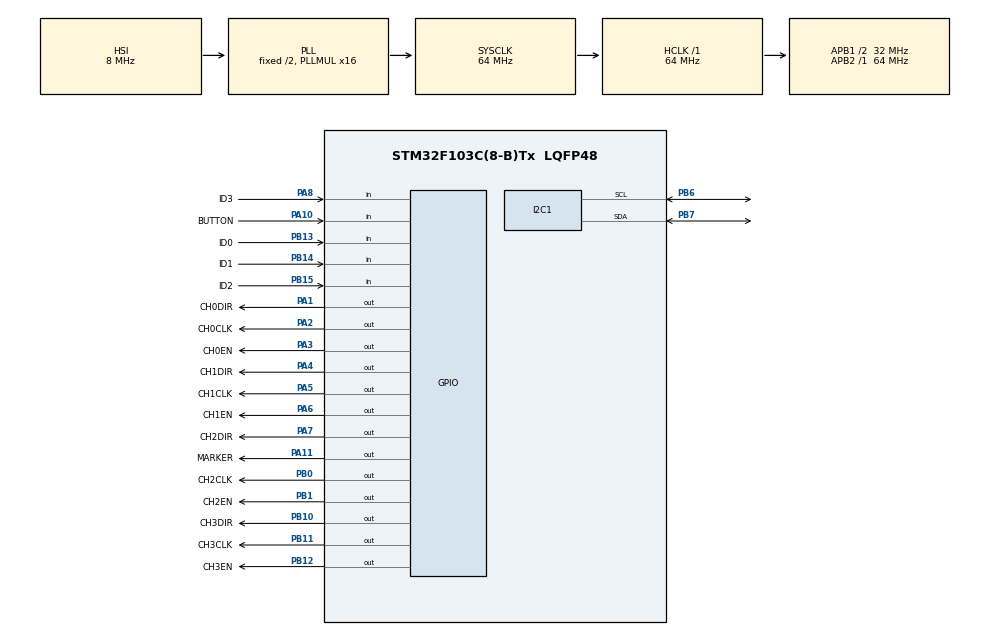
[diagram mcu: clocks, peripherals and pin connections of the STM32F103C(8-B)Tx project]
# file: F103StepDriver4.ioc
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I2C1.OwnAddress=1
Mcu.Family=STM32F1
Mcu.Name=STM32F103C(8-B)Tx
Mcu.Package=LQFP48
NVIC.I2C1_ER_IRQn=true\:0\:0\:false\:false\:true\:true\:true\:true
NVIC.I2C1_EV_IRQn=true\:0\:0\:false\:false\:true\:true\:true\:true
NVIC.PriorityGroup=NVIC_PRIORITYGROUP_4
NVIC.TIM1_UP_IRQn=true\:0\:0\:false\:false\:true\:true\:true\:true
NVIC.TIM2_IRQn=true\:0\:0\:false\:false\:true\:true\:true\:true
NVIC.TIM3_IRQn=true\:0\:0\:false\:false\:true\:true\:true\:true
NVIC.TIM4_IRQn=true\:0\:0\:false\:false\:true\:true\:true\:true
PA1.GPIO_Label=CH0DIR
PA1.Signal=GPIO_Output
PA10.GPIO_Label=BUTTON
PA10.GPIO_PuPd=GPIO_PULLUP
PA10.Signal=GPIO_Input
PA11.GPIO_Label=MARKER
PA11.PinState=GPIO_PIN_RESET
PA11.Signal=GPIO_Output
PA13.Mode=Serial_Wire
PA13.Signal=SYS_JTMS-SWDIO
PA14.Mode=Serial_Wire
PA14.Signal=SYS_JTCK-SWCLK
PA2.GPIO_Label=CH0CLK
PA2.Signal=GPIO_Output
PA3.GPIO_Label=CH0EN
PA3.Signal=GPIO_Output
PA4.GPIO_Label=CH1DIR
PA4.Signal=GPIO_Output
PA5.GPIO_Label=CH1CLK
PA5.Signal=GPIO_Output
PA6.GPIO_Label=CH1EN
PA6.Signal=GPIO_Output
PA7.GPIO_Label=CH2DIR
PA7.Signal=GPIO_Output
PA8.GPIO_Label=ID3
PA8.GPIO_PuPd=GPIO_PULLDOWN
PA8.Signal=GPIO_Input
PB0.GPIO_Label=CH2CLK
PB0.Signal=GPIO_Output
PB1.GPIO_Label=CH2EN
PB1.Signal=GPIO_Output
PB10.GPIO_Label=CH3DIR
PB10.Signal=GPIO_Output
PB11.GPIO_Label=CH3CLK
PB11.Signal=GPIO_Output
PB12.GPIO_Label=CH3EN
PB12.Signal=GPIO_Output
PB13.GPIO_Label=ID0
PB13.GPIO_PuPd=GPIO_PULLDOWN
PB13.Signal=GPIO_Input
PB14.GPIO_Label=ID1
PB14.GPIO_PuPd=GPIO_PULLDOWN
PB14.Signal=GPIO_Input
PB15.GPIO_Label=ID2
PB15.GPIO_PuPd=GPIO_PULLDOWN
PB15.Signal=GPIO_Input
PB6.Mode=I2C
PB6.Signal=I2C1_SCL
PB7.Mode=I2C
PB7.Signal=I2C1_SDA
ProjectManager.HeapSize=0x200
ProjectManager.StackSize=0x400
ProjectManager.TargetToolchain=STM32CubeIDE
RCC.AHBFreq_Value=64000000
RCC.APB1CLKDivider=RCC_HCLK_DIV2
RCC.APB1Freq_Value=32000000
RCC.APB1TimFreq_Value=64000000
RCC.APB2Freq_Value=64000000
RCC.APB2TimFreq_Value=64000000
RCC.HCLKFreq_Value=64000000
RCC.PLLMUL=RCC_PLL_MUL16
RCC.SYSCLKFreq_VALUE=64000000
RCC.SYSCLKSource=RCC_SYSCLKSOURCE_PLLCLK
RCC.USBFreq_Value=64000000
RTC.AsynchPrediv=40
RTC.AutoPrediv=0
RTC.Format=RTC_FORMAT_BIN
TIM1.CounterMode=TIM_COUNTERMODE_DOWN
TIM1.Period=200
TIM1.Prescaler=64
TIM2.CounterMode=TIM_COUNTERMODE_DOWN
TIM2.Period=250
TIM2.Prescaler=64
TIM3.CounterMode=TIM_COUNTERMODE_DOWN
TIM3.Period=333
TIM3.Prescaler=64
TIM4.CounterMode=TIM_COUNTERMODE_DOWN
TIM4.Period=500
TIM4.Prescaler=64
VP_RTC_VS_RTC_Activate.Mode=RTC_Enabled
VP_TIM1_VS_ClockSourceINT.Mode=Internal
VP_TIM1_VS_OPM.Mode=OPM_bit
VP_TIM2_VS_ClockSourceINT.Mode=Internal
VP_TIM2_VS_OPM.Mode=OPM_bit
VP_TIM3_VS_ClockSourceINT.Mode=Internal
VP_TIM3_VS_OPM.Mode=OPM_bit
VP_TIM4_VS_ClockSourceINT.Mode=Internal
board=custom

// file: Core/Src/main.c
/* USER CODE BEGIN Header */
/**
  ******************************************************************************
  * @file           : main.c
  * @brief          : Main program body
  ******************************************************************************
  * @attention
  *
  * Copyright (c) 2025 STMicroelectronics.
  * All rights reserved.
  *
  * This software is licensed under terms that can be found in the LICENSE file
  * in the root directory of this software component.
  * If no LICENSE file comes with this software, it is provided AS-IS.
  *
  ******************************************************************************

  2026-01-04 テーブル方式作成開始
  */

/* USER CODE END Header */
#include "main.h"

/* USER CODE BEGIN Includes */
#include <stdio.h>		// for DEBUG
#include "stdbool.h"
/* USER CODE END Includes */

/* USER CODE BEGIN PD */
#define CHATTER 100

// I2Cコマンド
#define CMDMOVE 0x00
#define CMDRST  0x01

// 制御シンボル
#define UP true
#define DOWN false
#define HIGH 1
#define LOW 0
#define IDOFFSET 0x10

// 制御するドライバ数
#define CHCOUNT 4

// 動作範囲
#define LENGTH 8.2  // アクチュエータのストローク(mm)
#define MAXPT  2600 // 最大パルス数

// 時間定数
#define STBYTIME 1000 // 不動時間がこれ以上あるとスタンバイ(mS)
#define STBYDLY  100  // スタンバイ復帰時の待ち時間(uS)

// 等加速度運動パラメータ
#define INITVEL  5.0 // 初期速度(mm/S)
#define MAXVEL  31.5 // 最大速度(mm/S)
#define ACCEL  20.0 //500.0 // 加速度(mm/S2)
#define MARGIN 5    // 減速余裕(pulse)

#define MAXTBL 1500

// EN復帰待ち時間(x1uS)
#define ENWTIME 1000 // 1mS

// 絶対値マクロ
#define abs(x) (x<0 ? x*-1 : x)

// IIC用
#define IICBUFSIZE 32

#define digitalRead(pp) (HAL_GPIO_ReadPin(pp.port, pp.bit ))

/* USER CODE END PD */

I2C_HandleTypeDef hi2c1;

RTC_HandleTypeDef hrtc;

TIM_HandleTypeDef htim1;
TIM_HandleTypeDef htim2;
TIM_HandleTypeDef htim3;
TIM_HandleTypeDef htim4;

/* USER CODE BEGIN PV */

TIM_HandleTypeDef* timarray[] = {
	&htim1,
	&htim2,
	&htim3,
	&htim4
};

typedef struct PORTPIN {
	GPIO_TypeDef *port;
    uint16_t bit;
} portpin;

typedef struct CH {
  portpin dir;
  portpin clk;
  portpin enbl;
} ch;

ch ports[] = {
  {{ CH0DIR_GPIO_Port, CH0DIR_Pin },{ CH0CLK_GPIO_Port, CH0CLK_Pin },{ CH0EN_GPIO_Port, CH0EN_Pin }},
  {{ CH1DIR_GPIO_Port, CH1DIR_Pin },{ CH1CLK_GPIO_Port, CH1CLK_Pin },{ CH1EN_GPIO_Port, CH1EN_Pin }},
  {{ CH2DIR_GPIO_Port, CH2DIR_Pin },{ CH2CLK_GPIO_Port, CH2CLK_Pin },{ CH2EN_GPIO_Port, CH2EN_Pin }},
  {{ CH3DIR_GPIO_Port, CH3DIR_Pin },{ CH3CLK_GPIO_Port, CH3CLK_Pin },{ CH3EN_GPIO_Port, CH3EN_Pin }}
};

// ID0:PB13 ID1:PB14 ID2:PB15 ID3:PA8 (ID=BINARY+1)
portpin ids[] = {
	{ID0_GPIO_Port, ID0_Pin},{ID1_GPIO_Port, ID1_Pin},
	{ID2_GPIO_Port, ID2_Pin},{ID3_GPIO_Port, ID3_Pin}
};

portpin marker={MARKER_GPIO_Port, MARKER_Pin};

//int8_t chstat[CHCOUNT] = {0, 0, 0, 0}; // 0:未動作 1:CLK=Hタイマ動作中 2:CLK=Lタイマ動作中
enum timstat{
	TNON, // タイマー未動作
	TCLKH,// CLKHタイマー動作中
	TCLKL,// CLKLタイマー動作中
	TENW // ENABLE WAIT タイマー動作中
} chstat[CHCOUNT] = {TNON, TNON, TNON, TNON};

float lperstep;
long  initvel;
long  maxvel;
long  accel; // 加速度 steps/S2
uint32_t	period[CHCOUNT]={0,0,0,0};
int32_t		dest[CHCOUNT] = {2600,2600,2600,2600};
//int32_t		currentpt[CHCOUNT] = {MAXPT,MAXPT,MAXPT,MAXPT}; //初期化の為暫定的に上限にする。
int32_t		currentpt[CHCOUNT] = {2500,2500,2500,2500};
int32_t		velocity[CHCOUNT]={};
uint8_t		stepstartf[CHCOUNT]={false,false,false,false};
uint32_t	stbytime[CHCOUNT]={0,0,0,0};
bool		stbyf[CHCOUNT];

uint16_t acctable[MAXTBL]; // 加減速周期テーブル
int16_t velocipt[CHCOUNT]={0,0,0,0};

bool pulseendf=false;
bool i2crcvf = false;
uint8_t buf[128];

/* USER CODE END PV */

void SystemClock_Config(void);
static void MX_GPIO_Init(void);
static void MX_RTC_Init(void);
static void MX_TIM1_Init(void);
static void MX_TIM2_Init(void);
static void MX_TIM3_Init(void);
static void MX_TIM4_Init(void);
static void MX_I2C1_Init(void);

/* USER CODE BEGIN 0 */
void I2C_RESET( void ){
  HAL_I2C_DeInit(&hi2c1) ;
  HAL_I2C_Init(&hi2c1) ;
}

void digitalWrite(portpin pp , int level) {
        HAL_GPIO_WritePin(pp.port, pp.bit, level);
}
/*
GPIO_PinState digitalRead(portpin pp) {
	return(HAL_GPIO_ReadPin(pp.port, pp.bit ));
}
*/
// RTC_ReadTimeCounter()からパクった。(RTC_ReadTimeCounter()は外に公開するヘッダに載ってないので）。
static uint32_t ticktime()
{
  uint16_t high1 = 0U, high2 = 0U, low = 0U;
  uint32_t timecounter = 0U;

  high1 = READ_REG(hrtc.Instance->CNTH & RTC_CNTH_RTC_CNT);
  low   = READ_REG(hrtc.Instance->CNTL & RTC_CNTL_RTC_CNT);
  high2 = READ_REG(hrtc.Instance->CNTH & RTC_CNTH_RTC_CNT);
  if (high1 != high2)
    timecounter = (((uint32_t) high2 << 16U) | READ_REG(hrtc.Instance->CNTL & RTC_CNTL_RTC_CNT));
  else
    timecounter = (((uint32_t) high1 << 16U) | low);
  return timecounter;
}

// 加速度テーブル作成
// 2026-01-29 acctable[]は[1]始まりで[0]は±切り替え時のみ使用する様に変更。
void maketable() {
	int i;
	float velocity;
	float period;
	bool endf=false;

	velocity=INITVEL;    // 初期速度[steps/S]
	for ( i=1; i<MAXTBL; i++) {
		period=lperstep/velocity; // 周期[S]
		acctable[i]=(uint16_t)(period*1e6)/2; // 半周期[uS]
		if ( endf ) {
			acctable[i+1]=0;
			break;
		}
		if ( i==MAXTBL-1) {
			acctable[MAXTBL-1]=0;
			break;
		}
		velocity = velocity + ACCEL * period; // 次回の速度
		if (MAXVEL <= velocity) {
			velocity = MAXVEL; // 上限に揃える
			endf = true;
		}
	}
	acctable[0]=acctable[1]*2;    // [0]は±切替時のみ実行。
}

void onestep(int8_t i, ch* channel, bool ud, uint32_t steptime) {
	// EN復帰期間の保存用
	static ch*  channelback[CHCOUNT];
	static bool udback[CHCOUNT];
	static uint32_t steptimeback[CHCOUNT];

	// スタンバイモードからの復帰
	if ( chstat[i] != TENW ) { // 復帰タイマー明けではない
		if ( stbyf[i] ) { // 今までスタンバイ中だった。
			digitalWrite(ports[i].enbl, HIGH);
			stbyf[i]=false;

			// 状態を保存(復帰タイマー明けに続きをやるため）。
			channelback[i]=channel;
			udback[i]=ud;
			steptimeback[i]=steptime;

			// 復帰タイマー起動
			chstat[i]=TENW;
			__HAL_TIM_SET_COUNTER(timarray[i], ENWTIME);
			HAL_TIM_Base_Start_IT(timarray[i]);

			stbytime[i] = ticktime(&hrtc);
			return; // 一旦抜ける（続きはタイマー明けで・・）

		}
	} else { // 復帰タイマー明け
		channel=channelback[i];
		ud=udback[i];
		steptime=steptimeback[i];
	}
	stbytime[i] = ticktime(&hrtc);

	// DIRとCLKを設定する。
	digitalWrite(channel->dir, ud ? HIGH : LOW);
	digitalWrite(channel->clk, HIGH);

	// タイマースタート。
	chstat[i]=TCLKH;
	__HAL_TIM_SET_COUNTER(timarray[i], steptime);
	HAL_TIM_Base_Start_IT(timarray[i]);
}

// 等加速度運動による現在速度と周期を計算しモーターを１ステップ進める。。
void kinematics(int8_t i) {
  int tablept;
  int16_t way;
#ifdef DEBUG
  printf("kinematics %d %ld %ld %d\n",i,dest[i],currentpt[i],velocipt[i]);
#endif

  way = dest[i] - currentpt[i]; // 目的地までの道のり（±）
  tablept=abs(velocipt[i]);

  if ( 0 < way)  {
	  // 上り
	  // onestep(i, &(ports[i]), 0<=velocipt[i]? UP:DOWN, acctable[tablept]);
	  if ( ((way-MARGIN) < velocipt[i]) && (1 < velocipt[i]) )
		  velocipt[i]--; // 上方向に減速
	  else if ( velocipt[i] < (way-MARGIN) && (0 != acctable[tablept+1]) )
		  velocipt[i]++; // 上方向に加速(下方向に減速も含む)

	  tablept=abs(velocipt[i]);
	  if (0<velocipt[i]) {
		  onestep(i, &(ports[i]), UP, acctable[tablept]);
		  currentpt[i]++;
	  } else {
		  onestep(i, &(ports[i]), DOWN, acctable[tablept]);
		  currentpt[i]--;
	  }
  } else if ( way < 0 ) {
	  // 下り
	  // onestep(i, &(ports[i]), 0<=velocipt[i]? UP:DOWN, acctable[tablept]);
	  if ( (velocipt[i] < (way+MARGIN))  && (velocipt[i]) < -1 )
		  velocipt[i]++; // 下方向に減速
	  else if ( (way+MARGIN) < velocipt[i] && (0 != acctable[tablept+1]) )
		  velocipt[i]--; // 下方向に加速(上方向に減速も含む)

	  tablept=abs(velocipt[i]);
	  if (0<velocipt[i]) {
		  onestep(i, &(ports[i]), UP, acctable[tablept]);
	      currentpt[i]++;
	  } else {
	      onestep(i, &(ports[i]), DOWN, acctable[tablept]);
	      currentpt[i]--;
	  }
  } else {
	  velocipt[i]=0;
#ifdef DEBUG
	  printf("STOP %d\n",i);
#endif
  }
}
/* USER CODE END 0 */

int main(void)
{

  /* MCU Configuration--------------------------------------------------------*/

  /* Reset of all peripherals, Initializes the Flash interface and the Systick. */
  HAL_Init();

  /* Configure the system clock */
  SystemClock_Config();

  /* Initialize all configured peripherals */
  MX_GPIO_Init();
  MX_RTC_Init();
  MX_TIM1_Init();
  MX_TIM2_Init();
  MX_TIM3_Init();
  MX_TIM4_Init();
  MX_I2C1_Init();
  /* USER CODE BEGIN 2 */
  //tickstart = ticktime(&hrtc);

  // その他変数の準備
  lperstep = LENGTH / MAXPT; // length/step(mm)
  initvel = INITVEL / lperstep; // step/S
  maxvel = MAXVEL / lperstep; // step/S
  accel = ACCEL / lperstep; // step/S2

  maketable();

  // 初期化
  for(int8_t i=0; i<CHCOUNT; i++) {
	  digitalWrite(ports[i].enbl, HIGH);
	  velocity[i] = initvel;
      dest[i]=0;          // そして目標値を0。
      kinematics(i);      // 動作開始。
  }

  if ( HAL_I2C_Slave_Receive_IT(&hi2c1, (uint8_t *)buf, IICBUFSIZE) != HAL_OK) {
	  Error_Handler();
  }
  /* USER CODE END 2 */

  /* Infinite loop */
  /* USER CODE BEGIN WHILE */
  //HAL_TIM_Base_Start_IT(&htim1);

  // ============================== MAIN LOOP ===============================
  while (1)
  {
    /* USER CODE END WHILE */

    /* USER CODE BEGIN 3 */

	  // I2C受信データあり
		if ( i2crcvf ) {
			if ( buf[0]==CMDMOVE ) { // モーター移動
				for (int i=0 ; i < 4 ; i++ ) {
					int val = buf[i*2+1]*256+buf[i*2+2];
					if ( dest[i] != val) {
						dest[i]=val;
						#ifdef DEBUG
							printf( "%d:",val );
						#endif
						kinematics(i);
					}
				}
				#ifdef DEBUG
					putchar('\n');
				#endif
			} else if ( buf[0] == CMDRST ) { // 原点復帰
				for (int i=0 ; i < 4 ; i++ ) {
					int val = buf[i*2+1]*256+buf[i*2+2];
					if ( val ) {
						currentpt[i]=2500;
						dest[i]=0;
						kinematics(i);
					}
				}
			}
			i2crcvf = false;
			if ( HAL_I2C_Slave_Receive_IT(&hi2c1, (uint8_t *)buf, 128) != HAL_OK) {
			  Error_Handler();
			}
			pulseendf=true;
		}

	  // 一定時間動作が無ければイネーブル端子をLにする。
	  for ( int i=0 ; i<CHCOUNT; i++ ) {
//		  if ( (stbyf[i] == false ) &&  (STBYTIME < (ticktime(&hrtc) - stbytime[i])) ) {

		  uint32_t stbytimebak = stbytime[i]; // stbytime[i]が割込みで変る可能性があるのでバックアップ
		  if ( (stbyf[i] == false ) &&  (STBYTIME < (ticktime(&hrtc) - stbytimebak)) ) {
			  digitalWrite(ports[i].enbl, LOW);
			  stbyf[i] = true;
		  }
	  }

  }
  /* USER CODE END 3 */
}

void SystemClock_Config(void)
{
  RCC_OscInitTypeDef RCC_OscInitStruct = {0};
  RCC_ClkInitTypeDef RCC_ClkInitStruct = {0};
  RCC_PeriphCLKInitTypeDef PeriphClkInit = {0};

  /** Initializes the RCC Oscillators according to the specified parameters
  * in the RCC_OscInitTypeDef structure.
  */
  RCC_OscInitStruct.OscillatorType = RCC_OSCILLATORTYPE_HSI|RCC_OSCILLATORTYPE_LSI;
  RCC_OscInitStruct.HSIState = RCC_HSI_ON;
  RCC_OscInitStruct.HSICalibrationValue = RCC_HSICALIBRATION_DEFAULT;
  RCC_OscInitStruct.LSIState = RCC_LSI_ON;
  RCC_OscInitStruct.PLL.PLLState = RCC_PLL_ON;
  RCC_OscInitStruct.PLL.PLLSource = RCC_PLLSOURCE_HSI_DIV2;
  RCC_OscInitStruct.PLL.PLLMUL = RCC_PLL_MUL16;
  if (HAL_RCC_OscConfig(&RCC_OscInitStruct) != HAL_OK)
  {
    Error_Handler();
  }

  /** Initializes the CPU, AHB and APB buses clocks
  */
  RCC_ClkInitStruct.ClockType = RCC_CLOCKTYPE_HCLK|RCC_CLOCKTYPE_SYSCLK
                              |RCC_CLOCKTYPE_PCLK1|RCC_CLOCKTYPE_PCLK2;
  RCC_ClkInitStruct.SYSCLKSource = RCC_SYSCLKSOURCE_PLLCLK;
  RCC_ClkInitStruct.AHBCLKDivider = RCC_SYSCLK_DIV1;
  RCC_ClkInitStruct.APB1CLKDivider = RCC_HCLK_DIV2;
  RCC_ClkInitStruct.APB2CLKDivider = RCC_HCLK_DIV1;

  if (HAL_RCC_ClockConfig(&RCC_ClkInitStruct, FLASH_LATENCY_2) != HAL_OK)
  {
    Error_Handler();
  }
  PeriphClkInit.PeriphClockSelection = RCC_PERIPHCLK_RTC;
  PeriphClkInit.RTCClockSelection = RCC_RTCCLKSOURCE_LSI;
  if (HAL_RCCEx_PeriphCLKConfig(&PeriphClkInit) != HAL_OK)
  {
    Error_Handler();
  }
}

static void MX_I2C1_Init(void)
{

  /* USER CODE BEGIN I2C1_Init 0 */
	//MX注意：MXで再生成したら下の「hi2c1.Init.OwnAddress1 = 2;」行をコメントアウトする事。
	int id = (digitalRead(ids[3])<<3) + (digitalRead(ids[2])<<2)
			+ (digitalRead(ids[1])<<1) + digitalRead(ids[0]);
	hi2c1.Init.OwnAddress1 = (id+IDOFFSET)<<1;
#ifdef DEBUG
	printf("I2C ID=%d\n",id);
#endif
  /* USER CODE END I2C1_Init 0 */

  hi2c1.Instance = I2C1;
  hi2c1.Init.ClockSpeed = 100000;
  hi2c1.Init.DutyCycle = I2C_DUTYCYCLE_2;
  //hi2c1.Init.OwnAddress1 = 2;
  hi2c1.Init.AddressingMode = I2C_ADDRESSINGMODE_7BIT;
  hi2c1.Init.DualAddressMode = I2C_DUALADDRESS_DISABLE;
  hi2c1.Init.OwnAddress2 = 0;
  hi2c1.Init.GeneralCallMode = I2C_GENERALCALL_DISABLE;
  hi2c1.Init.NoStretchMode = I2C_NOSTRETCH_DISABLE;
  if (HAL_I2C_Init(&hi2c1) != HAL_OK)
  {
    Error_Handler();
  }

}

static void MX_RTC_Init(void)
{

  /** Initialize RTC Only
  */
  hrtc.Instance = RTC;
  hrtc.Init.AsynchPrediv = 40;
  hrtc.Init.OutPut = RTC_OUTPUTSOURCE_ALARM;
  if (HAL_RTC_Init(&hrtc) != HAL_OK)
  {
    Error_Handler();
  }

}

static void MX_TIM1_Init(void)
{

  TIM_ClockConfigTypeDef sClockSourceConfig = {0};
  TIM_MasterConfigTypeDef sMasterConfig = {0};

  htim1.Instance = TIM1;
  htim1.Init.Prescaler = 64;
  htim1.Init.CounterMode = TIM_COUNTERMODE_DOWN;
  htim1.Init.Period = 200;
  htim1.Init.ClockDivision = TIM_CLOCKDIVISION_DIV1;
  htim1.Init.RepetitionCounter = 0;
  htim1.Init.AutoReloadPreload = TIM_AUTORELOAD_PRELOAD_DISABLE;
  if (HAL_TIM_Base_Init(&htim1) != HAL_OK)
  {
    Error_Handler();
  }
  sClockSourceConfig.ClockSource = TIM_CLOCKSOURCE_INTERNAL;
  if (HAL_TIM_ConfigClockSource(&htim1, &sClockSourceConfig) != HAL_OK)
  {
    Error_Handler();
  }
  if (HAL_TIM_OnePulse_Init(&htim1, TIM_OPMODE_SINGLE) != HAL_OK)
  {
    Error_Handler();
  }
  sMasterConfig.MasterOutputTrigger = TIM_TRGO_RESET;
  sMasterConfig.MasterSlaveMode = TIM_MASTERSLAVEMODE_DISABLE;
  if (HAL_TIMEx_MasterConfigSynchronization(&htim1, &sMasterConfig) != HAL_OK)
  {
    Error_Handler();
  }

}

static void MX_TIM2_Init(void)
{

  TIM_ClockConfigTypeDef sClockSourceConfig = {0};
  TIM_MasterConfigTypeDef sMasterConfig = {0};

  htim2.Instance = TIM2;
  htim2.Init.Prescaler = 64;
  htim2.Init.CounterMode = TIM_COUNTERMODE_DOWN;
  htim2.Init.Period = 250;
  htim2.Init.ClockDivision = TIM_CLOCKDIVISION_DIV1;
  htim2.Init.AutoReloadPreload = TIM_AUTORELOAD_PRELOAD_DISABLE;
  if (HAL_TIM_Base_Init(&htim2) != HAL_OK)
  {
    Error_Handler();
  }
  sClockSourceConfig.ClockSource = TIM_CLOCKSOURCE_INTERNAL;
  if (HAL_TIM_ConfigClockSource(&htim2, &sClockSourceConfig) != HAL_OK)
  {
    Error_Handler();
  }
  if (HAL_TIM_OnePulse_Init(&htim2, TIM_OPMODE_SINGLE) != HAL_OK)
  {
    Error_Handler();
  }
  sMasterConfig.MasterOutputTrigger = TIM_TRGO_RESET;
  sMasterConfig.MasterSlaveMode = TIM_MASTERSLAVEMODE_DISABLE;
  if (HAL_TIMEx_MasterConfigSynchronization(&htim2, &sMasterConfig) != HAL_OK)
  {
    Error_Handler();
  }

}

static void MX_TIM3_Init(void)
{

  TIM_ClockConfigTypeDef sClockSourceConfig = {0};
  TIM_MasterConfigTypeDef sMasterConfig = {0};

  htim3.Instance = TIM3;
  htim3.Init.Prescaler = 64;
  htim3.Init.CounterMode = TIM_COUNTERMODE_DOWN;
  htim3.Init.Period = 333;
  htim3.Init.ClockDivision = TIM_CLOCKDIVISION_DIV1;
  htim3.Init.AutoReloadPreload = TIM_AUTORELOAD_PRELOAD_DISABLE;
  if (HAL_TIM_Base_Init(&htim3) != HAL_OK)
  {
    Error_Handler();
  }
  sClockSourceConfig.ClockSource = TIM_CLOCKSOURCE_INTERNAL;
  if (HAL_TIM_ConfigClockSource(&htim3, &sClockSourceConfig) != HAL_OK)
  {
    Error_Handler();
  }
  if (HAL_TIM_OnePulse_Init(&htim3, TIM_OPMODE_SINGLE) != HAL_OK)
  {
    Error_Handler();
  }
  sMasterConfig.MasterOutputTrigger = TIM_TRGO_RESET;
  sMasterConfig.MasterSlaveMode = TIM_MASTERSLAVEMODE_DISABLE;
  if (HAL_TIMEx_MasterConfigSynchronization(&htim3, &sMasterConfig) != HAL_OK)
  {
    Error_Handler();
  }

}

static void MX_TIM4_Init(void)
{

  TIM_ClockConfigTypeDef sClockSourceConfig = {0};
  TIM_MasterConfigTypeDef sMasterConfig = {0};

  htim4.Instance = TIM4;
  htim4.Init.Prescaler = 64;
  htim4.Init.CounterMode = TIM_COUNTERMODE_DOWN;
  htim4.Init.Period = 500;
  htim4.Init.ClockDivision = TIM_CLOCKDIVISION_DIV1;
  htim4.Init.AutoReloadPreload = TIM_AUTORELOAD_PRELOAD_DISABLE;
  if (HAL_TIM_Base_Init(&htim4) != HAL_OK)
  {
    Error_Handler();
  }
  sClockSourceConfig.ClockSource = TIM_CLOCKSOURCE_INTERNAL;
  if (HAL_TIM_ConfigClockSource(&htim4, &sClockSourceConfig) != HAL_OK)
  {
    Error_Handler();
  }
  sMasterConfig.MasterOutputTrigger = TIM_TRGO_RESET;
  sMasterConfig.MasterSlaveMode = TIM_MASTERSLAVEMODE_DISABLE;
  if (HAL_TIMEx_MasterConfigSynchronization(&htim4, &sMasterConfig) != HAL_OK)
  {
    Error_Handler();
  }

}

static void MX_GPIO_Init(void)
{
  GPIO_InitTypeDef GPIO_InitStruct = {0};

  /* GPIO Ports Clock Enable */
  __HAL_RCC_GPIOA_CLK_ENABLE();
  __HAL_RCC_GPIOB_CLK_ENABLE();

  /*Configure GPIO pin Output Level */
  HAL_GPIO_WritePin(GPIOA, CH0DIR_Pin|CH0CLK_Pin|CH0EN_Pin|CH1DIR_Pin
                          |CH1CLK_Pin|CH1EN_Pin|CH2DIR_Pin|MARKER_Pin, GPIO_PIN_RESET);

  /*Configure GPIO pin Output Level */
  HAL_GPIO_WritePin(GPIOB, CH2CLK_Pin|CH2EN_Pin|CH3DIR_Pin|CH3CLK_Pin
                          |CH3EN_Pin, GPIO_PIN_RESET);

  /*Configure GPIO pins : CH0DIR_Pin CH0CLK_Pin CH0EN_Pin CH1DIR_Pin
                           CH1CLK_Pin CH1EN_Pin CH2DIR_Pin MARKER_Pin */
  GPIO_InitStruct.Pin = CH0DIR_Pin|CH0CLK_Pin|CH0EN_Pin|CH1DIR_Pin
                          |CH1CLK_Pin|CH1EN_Pin|CH2DIR_Pin|MARKER_Pin;
  GPIO_InitStruct.Mode = GPIO_MODE_OUTPUT_PP;
  GPIO_InitStruct.Pull = GPIO_NOPULL;
  GPIO_InitStruct.Speed = GPIO_SPEED_FREQ_LOW;
  HAL_GPIO_Init(GPIOA, &GPIO_InitStruct);

  /*Configure GPIO pins : CH2CLK_Pin CH2EN_Pin CH3DIR_Pin CH3CLK_Pin
                           CH3EN_Pin */
  GPIO_InitStruct.Pin = CH2CLK_Pin|CH2EN_Pin|CH3DIR_Pin|CH3CLK_Pin
                          |CH3EN_Pin;
  GPIO_InitStruct.Mode = GPIO_MODE_OUTPUT_PP;
  GPIO_InitStruct.Pull = GPIO_NOPULL;
  GPIO_InitStruct.Speed = GPIO_SPEED_FREQ_LOW;
  HAL_GPIO_Init(GPIOB, &GPIO_InitStruct);

  /*Configure GPIO pins : ID0_Pin ID1_Pin ID2_Pin */
  GPIO_InitStruct.Pin = ID0_Pin|ID1_Pin|ID2_Pin;
  GPIO_InitStruct.Mode = GPIO_MODE_INPUT;
  GPIO_InitStruct.Pull = GPIO_PULLDOWN;
  HAL_GPIO_Init(GPIOB, &GPIO_InitStruct);

  /*Configure GPIO pin : ID3_Pin */
  GPIO_InitStruct.Pin = ID3_Pin;
  GPIO_InitStruct.Mode = GPIO_MODE_INPUT;
  GPIO_InitStruct.Pull = GPIO_PULLDOWN;
  HAL_GPIO_Init(ID3_GPIO_Port, &GPIO_InitStruct);

  /*Configure GPIO pin : BUTTON_Pin */
  GPIO_InitStruct.Pin = BUTTON_Pin;
  GPIO_InitStruct.Mode = GPIO_MODE_INPUT;
  GPIO_InitStruct.Pull = GPIO_PULLUP;
  HAL_GPIO_Init(BUTTON_GPIO_Port, &GPIO_InitStruct);

}

/* USER CODE BEGIN 4 */
// ### タイマー割込み処理 ###
// digitalWrite()
// kinematics()
// └onestep()
void HAL_TIM_PeriodElapsedCallback(TIM_HandleTypeDef *htim) {
	// どのCH(どのタイマー)の割込みかループで探す。
	for ( int i=0; i<CHCOUNT; i++) {
		if ( htim->Instance == timarray[i]->Instance) {
			HAL_TIM_Base_Stop_IT(timarray[i]);
			if ( chstat[i]==TCLKH ) { // H期間終了ならここ。CLKをLに下げて同じ時間でタイマー起動。
				chstat[i]=TCLKL;
				digitalWrite(ports[i].clk, LOW);
				__HAL_TIM_SET_COUNTER(timarray[i], acctable[abs(velocipt[i])]);
				HAL_TIM_Base_Start_IT(timarray[i]);
			} else if (chstat[i]==TCLKL) {			// L期間終了ならここ
				chstat[i]=TNON;
				kinematics(i);
			} else if (chstat[i]==TENW){	// ENABLE端子復帰待ち時間終了ならここ
				onestep(i,NULL,false,0);	// 先に中断したonestep()の続きを実行。
			}
			break;
		}
	}
}

// for DEBUG (printf...)
int _write(int file, char *ptr, int len)
{
  int DataIdx;
  for(DataIdx=0; DataIdx<len; DataIdx++)
  {
    ITM_SendChar(*ptr++);
  }
  return len;
}

void HAL_I2C_SlaveRxCpltCallback(I2C_HandleTypeDef * hi2c) {
	i2crcvf=true;
}

void HAL_I2C_ErrorCallback(I2C_HandleTypeDef *hi2c ) {
  if(hi2c->Instance == I2C1) {

	  if ( HAL_I2C_ERROR_AF == HAL_I2C_GetError(hi2c)) {
		i2crcvf=true;
	    return;
	  }
	  Error_Handler();
  }
}
/* USER CODE END 4 */

void Error_Handler(void)
{
  __disable_irq();
  while (1)
  {
  }
}
